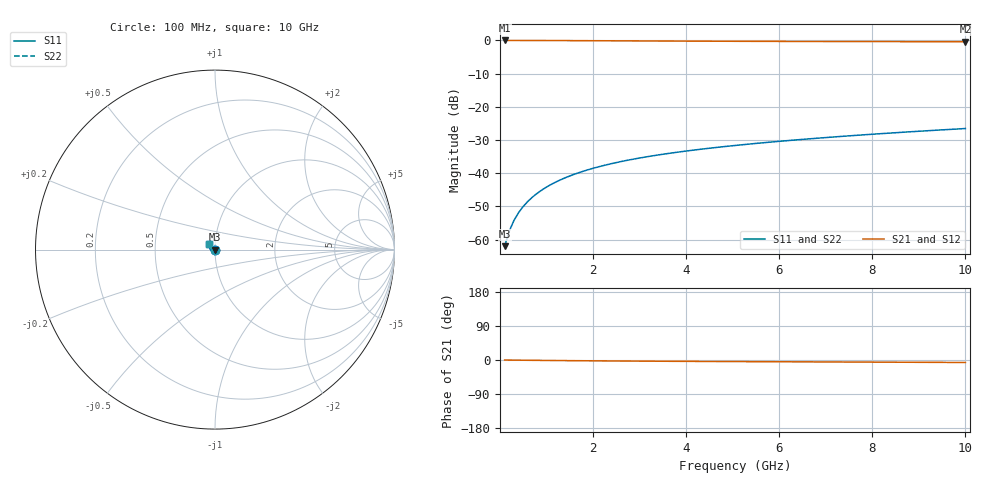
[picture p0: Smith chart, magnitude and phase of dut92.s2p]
! Touchstone file exported from HFSS 2024.1.0
!  File:  C:/UserFiles/LocalFiles/RDL_TSV_Batchsim/temp_TSV1_92_1779376195.aedt
!  Generated:  11:16:55 PM May 21, 2026
!  Design:  TSV1
!  Project:  temp_TSV1_92_1779376195
!  Setup:  Setup1
!  Solution:  Sweep
! Variables:
!  dtsv = 5.62um
!  hbump = 3um
!  htsv = 97.28um
!  lrdl = 252.1521522um
!  p = 40
!  p1 = 52.76um
!  t = 500um
!  trdl = 3um
!  wrdl = 24.89489489um
# GHz S MA R 50.000000
! Terminal data exported
! Port[1] = TSV22_T1
! Port[2] = TSV22_T2
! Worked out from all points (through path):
!   100 points, 100 MHz to 10 GHz, reference 50 ohm
!   highest |S21| = 0.00 dB at 100 MHz (marker M1); lowest = -0.4 dB at 10 GHz (marker M2)
!   lowest |S11| = -62.0 dB at 100 MHz (marker M3), VSWR 1.00, Z = 50 - j0.0636 ohm
!   |S11| at or under -10 dB: start of sweep to end of sweep
!   |S22| runs from -62.0 to -26.5 dB; largest |S21 - S12| = 2.1e-15
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0.1  0.0007965 -52.9  0.9995 -0.1  0.9995 -0.1  0.0007965 -52.9
! Gamma 0 0 0 0
! Port Impedance 50 0 50 0
0.2  0.001345 -72.5  0.9994 -0.2  0.9994 -0.2  0.001345 -72.5
0.3  0.00194 -82.0  0.9992 -0.4  0.9992 -0.4  0.00194 -82.0
0.4  0.002546 -88.1  0.999 -0.5  0.999 -0.5  0.002546 -88.1
0.5  0.003157 -92.8  0.9988 -0.6  0.9988 -0.6  0.003157 -92.8
0.6  0.003767 -96.7  0.9985 -0.7  0.9985 -0.7  0.003767 -96.7
0.7  0.004376 -100.2  0.9982 -0.8  0.9982 -0.8  0.004376 -100.2
0.8  0.004983 -103.4  0.9978 -0.9  0.9978 -0.9  0.004983 -103.4
0.9  0.005585 -106.4  0.9973 -1.1  0.9973 -1.1  0.005585 -106.4
1.1  0.006777 -112.0  0.9964 -1.3  0.9964 -1.3  0.006777 -112.0
1.4  0.008524 -119.7  0.9947 -1.6  0.9947 -1.6  0.008525 -119.7
1.6  0.00966 -124.5  0.9934 -1.8  0.9934 -1.8  0.00966 -124.5
1.8  0.01077 -129.1  0.9921 -2.0  0.9921 -2.0  0.01077 -129.1
2.1  0.01239 -135.6  0.9899 -2.3  0.9899 -2.3  0.01239 -135.6
2.5  0.01447 -143.8  0.987 -2.6  0.987 -2.6  0.01447 -143.7
2.9  0.01646 -151.3  0.9841 -2.9  0.9841 -2.9  0.01646 -151.3
3.4  0.01884 -159.9  0.9807 -3.2  0.9807 -3.2  0.01884 -159.8
4.2  0.02247 -171.9  0.9757 -3.7  0.9757 -3.7  0.02247 -171.9
5.1  0.02639 176.7  0.9711 -4.2  0.9711 -4.2  0.02639 176.7
6.7  0.03318 160.7  0.9648 -5.0  0.9648 -5.0  0.03317 160.7
8.4  0.04033 148.0  0.9603 -5.8  0.9603 -5.8  0.04033 148.0
10  0.0471 138.8  0.9572 -6.5  0.9572 -6.5  0.0471 138.8
